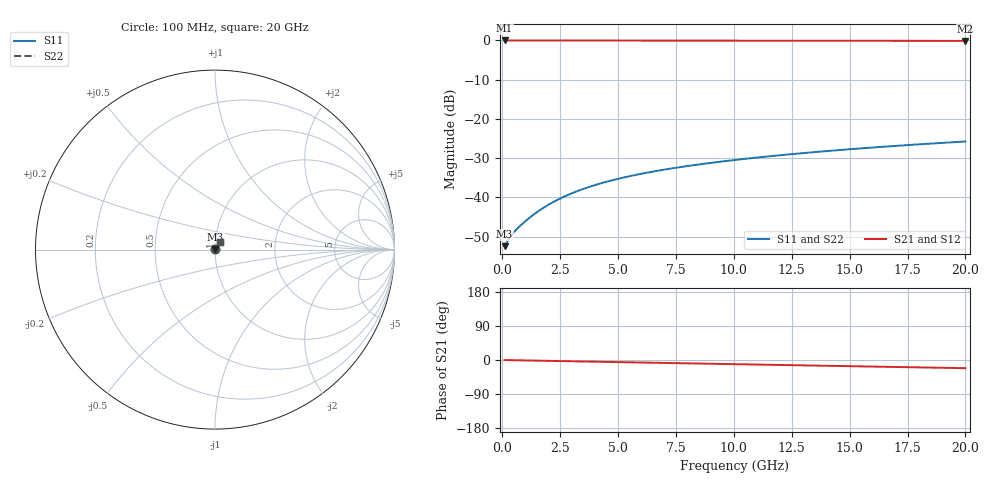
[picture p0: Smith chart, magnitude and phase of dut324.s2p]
! Touchstone file exported from HFSS 2026.1.0
!  File:  C:/ffzhzh/LocalFiles/Ansys_Project_Files/temp_train_TMRDL_324_1783003500_51716.aedt
!  Generated:  10:46:15 PM Jul  2, 2026
!  Design:  TMRDL
!  Project:  temp_train_TMRDL_324_1783003500_51716
! Variables:
!  h_bsmrdl = 2um
!  h_ox = 20um
!  h_rdl = 5um
!  h_sub = 80um
!  h_tmrdl = 5.23um
!  h_tsv = 80um
!  h_via = 3um
!  l_bsmrdl = 300um
!  l_sub = 789.18um
!  l_tmrdl = 389.18um
!  m_sub = 200um
!  pitch = 17.46um
!  r_tsv = 6um
!  s_tmrdl = 10um
!  w_bsmrdl = 18um
!  w_sub = 500um
!  w_tmrdl = 12.05um
!  x_tsv_center1 = 395.205um
!  x_tsv_center2 = 713.205um
!  x_tsv_center3 = 1114.435um
!  x_tsv_center4 = 1432.435um
!  x_tsv_center5 = 1833.665um
!  x_tsv_center6 = 2151.665um
# GHz S MA R 50.000000
! Terminal data exported
! Port[1] = TM_RDL1_1_T1
! Port[2] = TM_RDL1_1_T2
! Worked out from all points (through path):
!   200 points, 100 MHz to 20 GHz, reference 50 ohm
!   highest |S21| = -0.02 dB at 100 MHz (marker M1); lowest = -0.1 dB at 20 GHz (marker M2)
!   group delay of S21, straight-line fit = 2.98 ps
!   lowest |S11| = -52.5 dB at 100 MHz (marker M3), VSWR 1.00, Z = 50.2 + j0.0587 ohm
!   |S11| at or under -10 dB: start of sweep to end of sweep
!   |S22| runs from -52.5 to -25.8 dB; largest |S21 - S12| = 3e-15
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0.1  0.002384 14.2  0.9977 -0.1  0.9977 -0.1  0.002384 14.2
! Gamma 0 0 0 0
! Port Impedance 50 0 50 0
0.3  0.003024 29.5  0.9974 -0.4  0.9974 -0.4  0.003024 29.5
0.4  0.003327 33.6  0.9972 -0.5  0.9972 -0.5  0.003327 33.6
0.5  0.003607 37.0  0.9971 -0.6  0.9971 -0.6  0.003607 37.0
0.7  0.004144 42.7  0.997 -0.8  0.997 -0.8  0.004144 42.7
0.9  0.004693 47.4  0.9969 -1.0  0.9969 -1.0  0.004693 47.4
1.1  0.005267 51.2  0.9968 -1.3  0.9968 -1.3  0.005267 51.2
1.4  0.00617 55.5  0.9966 -1.6  0.9966 -1.6  0.00617 55.5
1.9  0.007743 60.0  0.9964 -2.2  0.9964 -2.2  0.007743 60.1
2.4  0.009343 62.5  0.996 -2.7  0.996 -2.7  0.009343 62.5
2.9  0.01093 63.9  0.9957 -3.3  0.9957 -3.3  0.01093 63.9
3.5  0.0128 64.6  0.9952 -4.0  0.9952 -4.0  0.0128 64.6
4.2  0.0149 64.8  0.9947 -4.7  0.9947 -4.7  0.0149 64.8
5  0.0172 64.7  0.9941 -5.6  0.9941 -5.6  0.0172 64.7
5.9  0.01967 64.2  0.9933 -6.6  0.9933 -6.6  0.01967 64.2
6.8  0.02203 63.7  0.9927 -7.6  0.9927 -7.6  0.02203 63.7
8.3  0.02577 62.7  0.9916 -9.2  0.9916 -9.2  0.02577 62.7
10.1  0.03005 61.5  0.9905 -11.1  0.9905 -11.1  0.03005 61.5
11.7  0.03371 60.4  0.9897 -12.8  0.9897 -12.8  0.03371 60.4
13.4  0.03751 59.2  0.9888 -14.6  0.9888 -14.6  0.0375 59.2
16.7  0.04462 56.7  0.9872 -18.1  0.9872 -18.1  0.04462 56.7
20  0.05145 54.0  0.9858 -21.6  0.9858 -21.6  0.05145 54.0
